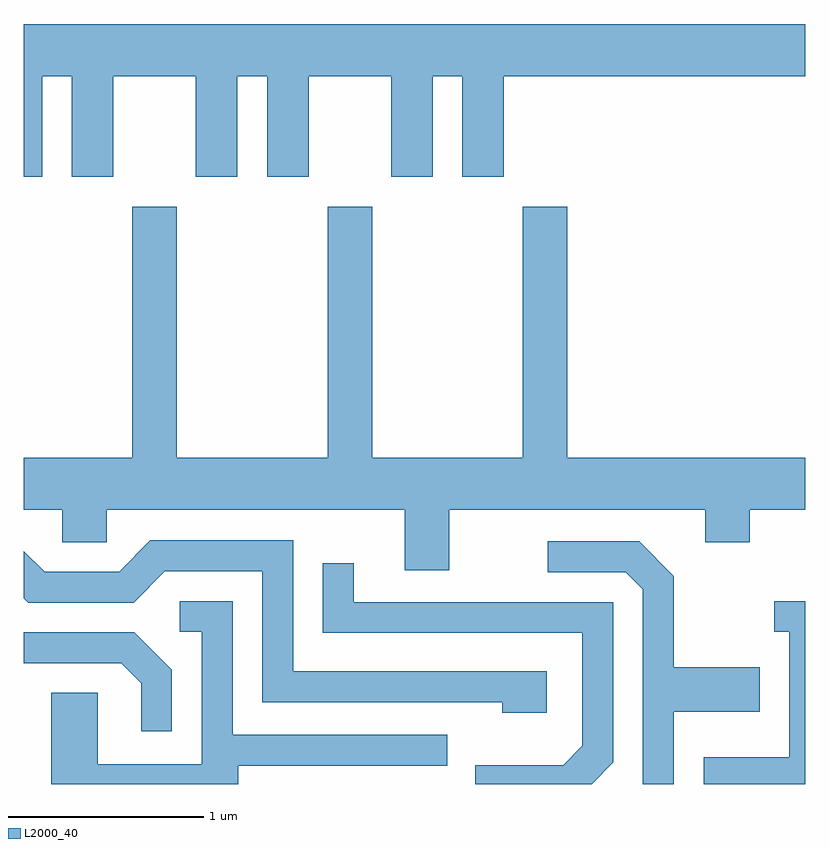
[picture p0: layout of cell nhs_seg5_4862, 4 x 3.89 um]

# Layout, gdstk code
import gdstk
lib = gdstk.Library(unit=1e-6, precision=1e-09)
def P(c, l, *ps):  # polygons
    for p in ps: c.add(gdstk.Polygon(p, *l))
L2000_40 = (2000, 40)

nhs_seg5_4862 = lib.new_cell('nhs_seg5_4862')
P(nhs_seg5_4862, L2000_40, [(329.611,1445.181),(329.704,1445.181),(329.704,1445.696),(329.856,1445.696),(329.856,1445.181),(330.069,1445.181),(330.069,1445.696),(330.491,1445.696),(330.491,1445.181),(330.704,1445.181),(330.704,1445.696),(330.856,1445.696),(330.856,1445.181),(331.069,1445.181),(331.069,1445.696),(331.491,1445.696),(331.491,1445.181),(331.704,1445.181),(331.704,1445.696),(331.856,1445.696),(331.856,1445.181),(332.069,1445.181),(332.069,1445.696),(333.611,1445.696),(333.611,1445.964),(329.611,1445.964)],
  [(331.789,1443.476),(333.101,1443.476),(333.101,1443.311),(333.329,1443.311),(333.329,1443.476),(333.611,1443.476),(333.611,1443.744),(332.394,1443.744),(332.394,1445.029),(332.166,1445.029),(332.166,1443.744),(331.394,1443.744),(331.394,1445.029),(331.166,1445.029),(331.166,1443.744),(330.394,1443.744),(330.394,1445.029),(330.166,1445.029),(330.166,1443.744),(329.611,1443.744),(329.611,1443.476),(329.806,1443.476),(329.806,1443.311),(330.034,1443.311),(330.034,1443.476),(331.561,1443.476),(331.561,1443.166),(331.789,1443.166)],
  [(332.289,1442.649),(330.989,1442.649),(330.989,1443.319),(330.259,1443.319),(330.099,1443.159),(329.717,1443.159),(329.611,1443.265),(329.611,1443.024),(329.634,1443.001),(330.172,1443.001),(330.332,1443.161),(330.831,1443.161),(330.831,1442.491),(332.061,1442.491),(332.061,1442.436),(332.289,1442.436)],
  [(332.939,1442.441),(333.379,1442.441),(333.379,1442.669),(332.939,1442.669),(332.939,1443.137),(332.762,1443.314),(332.293,1443.314),(332.293,1443.156),(332.694,1443.156),(332.781,1443.069),(332.781,1442.072),(332.939,1442.072)],
  [(332.629,1442.184),(332.629,1443.004),(331.299,1443.004),(331.299,1443.203),(331.141,1443.203),(331.141,1442.846),(332.471,1442.846),(332.471,1442.267),(332.374,1442.169),(331.921,1442.169),(331.921,1442.072),(332.518,1442.072)],
  [(330.709,1442.166),(331.778,1442.166),(331.778,1442.324),(330.679,1442.324),(330.679,1443.009),(330.408,1443.009),(330.408,1442.851),(330.521,1442.851),(330.521,1442.174),(329.989,1442.174),(329.989,1442.539),(329.751,1442.539),(329.751,1442.072),(330.709,1442.072)],
  [(333.611,1443.009),(333.453,1443.009),(333.453,1442.851),(333.531,1442.851),(333.531,1442.209),(333.091,1442.209),(333.091,1442.072),(333.611,1442.072)],
  [(330.369,1442.657),(330.177,1442.849),(329.611,1442.849),(329.611,1442.691),(330.109,1442.691),(330.211,1442.589),(330.211,1442.343),(330.369,1442.343)])

lib.write_gds('nhs_seg5_4862.gds')
